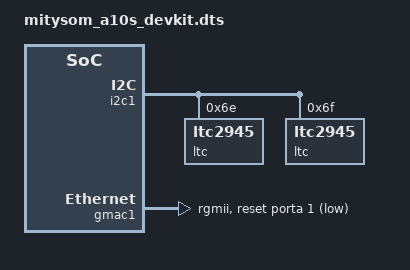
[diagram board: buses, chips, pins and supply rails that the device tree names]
/*
 * Copyright (C) 2018 Critical Link, LLC
 *
 * Author: Daniel Vincelette <dvincelette@criticallink.com>
 *
 * Based on socfpga_arria10_socdk.dtsi
 * Copyright (C) 2015 Altera Corporation <www.altera.com>
 *
 * This program is free software; you can redistribute it and/or modify
 * it under the terms of the GNU General Public License as published by
 * the Free Software Foundation; either version 2 of the License, or
 * (at your option) any later version.
 *
 * This program is distributed in the hope that it will be useful,
 * but WITHOUT ANY WARRANTY; without even the implied warranty of
 * MERCHANTABILITY or FITNESS FOR A PARTICULAR PURPOSE.  See the
 * GNU General Public License for more details.
 *
 */
/dts-v1/;
#include "mitysom_a10s.dtsi"

/ {
	aliases {
		ethernet0 = &gmac1;
	};
};

&i2c1 {
	status = "okay";

	/* On-board Voltage Monitor */
/* TODO: Add support
	ad7996@29 {
		compatible = "ad7995";
		reg = <0x29>;
	};
*/

	/* On-board Power Monitor Voltage Monitor 5V */
	ltc@6e {
		compatible = "ltc2945";
		reg = <0x6e>;
	};

	/* On-board Power Monitor Voltage Monitor 12V */
	ltc@6f {
		compatible = "ltc2945";
		reg = <0x6f>;
	};
};

&gmac1 {
	phy-mode = "rgmii";
	phy-addr = <0xffffffff>; /* probe for phy addr */

	/*
	 * These skews assume the user's FPGA design is adding 600ps of delay
	 * for TX_CLK on Arria 10.
	 *
	 * All skews are offset since hardware skew values for the ksz9031
	 * range from a negative skew to a positive skew.
	 * See the micrel-ksz90x1.txt Documentation file for details.
	 */
	txd0-skew-ps = <0>; /* -420ps */
	txd1-skew-ps = <0>; /* -420ps */
	txd2-skew-ps = <0>; /* -420ps */
	txd3-skew-ps = <0>; /* -420ps */
	rxd0-skew-ps = <420>; /* 0ps */
	rxd1-skew-ps = <420>; /* 0ps */
	rxd2-skew-ps = <420>; /* 0ps */
	rxd3-skew-ps = <420>; /* 0ps */
	txen-skew-ps = <0>; /* -420ps */
	txc-skew-ps = <1860>; /* 960ps */
	rxdv-skew-ps = <420>; /* 0ps */
	rxc-skew-ps = <1680>; /* 780ps */
	max-frame-size = <3800>;
	snps,reset-gpio = <&porta 1 GPIO_ACTIVE_LOW>; 			
	snps,reset-delays-us = <0 10000 1000000>;
	snps,reset-active-low;
	status = "okay";
};

